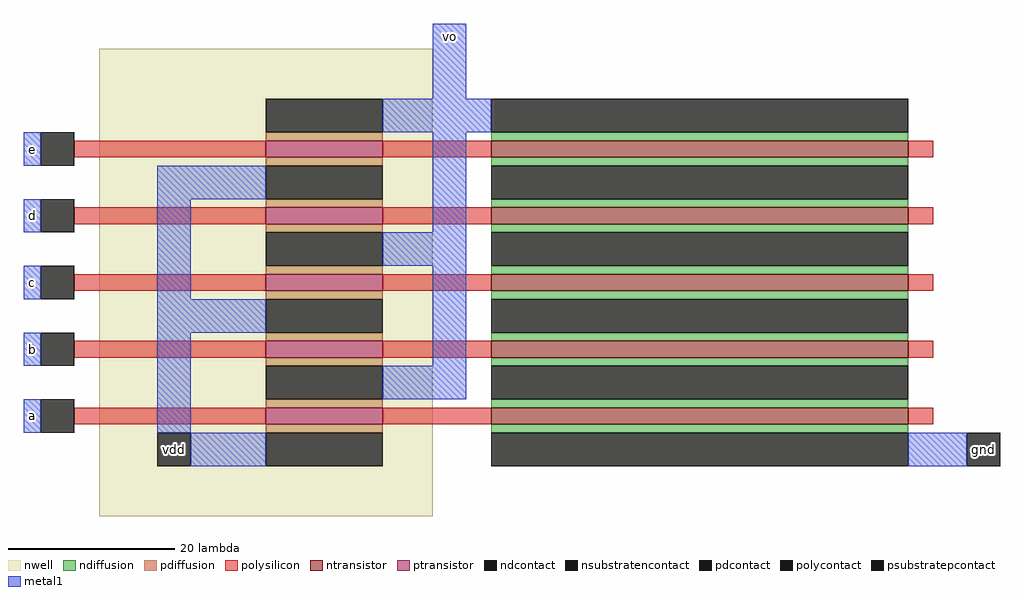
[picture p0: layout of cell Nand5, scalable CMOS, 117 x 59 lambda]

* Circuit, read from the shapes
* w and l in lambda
.subckt Nand5 a b c d e gnd vdd vo
M1 n1 a gnd gnd nfet w=50 l=2
M2 n2 b n1 gnd nfet w=50 l=2
M3 n3 c n2 gnd nfet w=50 l=2
M4 n4 d n3 gnd nfet w=50 l=2
M5 vo e n4 gnd nfet w=50 l=2
M6 vo a vdd vdd pfet w=14 l=2
M7 vdd b vo vdd pfet w=14 l=2
M8 vo c vdd vdd pfet w=14 l=2
M9 vdd d vo vdd pfet w=14 l=2
M10 vo e vdd vdd pfet w=14 l=2
.ends

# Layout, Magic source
magic
tech scmos
<< nwell >>
rect 9 -68 49 -12
<< ntransistor >>
rect 56 -25 106 -23
rect 56 -33 106 -31
rect 56 -41 106 -39
rect 56 -49 106 -47
rect 56 -57 106 -55
<< ptransistor >>
rect 29 -25 43 -23
rect 29 -33 43 -31
rect 29 -41 43 -39
rect 29 -49 43 -47
rect 29 -57 43 -55
<< ndiffusion >>
rect 56 -23 106 -22
rect 56 -26 106 -25
rect 56 -31 106 -30
rect 56 -34 106 -33
rect 56 -39 106 -38
rect 56 -42 106 -41
rect 56 -47 106 -46
rect 56 -50 106 -49
rect 56 -55 106 -54
rect 56 -58 106 -57
<< pdiffusion >>
rect 29 -23 43 -22
rect 29 -26 43 -25
rect 29 -31 43 -30
rect 29 -34 43 -33
rect 29 -39 43 -38
rect 29 -42 43 -41
rect 29 -47 43 -46
rect 29 -50 43 -49
rect 29 -55 43 -54
rect 29 -58 43 -57
<< ndcontact >>
rect 56 -22 106 -18
rect 56 -30 106 -26
rect 56 -38 106 -34
rect 56 -46 106 -42
rect 56 -54 106 -50
rect 56 -62 106 -58
<< pdcontact >>
rect 29 -22 43 -18
rect 29 -30 43 -26
rect 29 -38 43 -34
rect 29 -46 43 -42
rect 29 -54 43 -50
rect 29 -62 43 -58
<< psubstratepcontact >>
rect 113 -62 117 -58
<< nsubstratencontact >>
rect 16 -62 20 -58
<< polysilicon >>
rect 6 -25 29 -23
rect 43 -25 56 -23
rect 106 -25 109 -23
rect 6 -33 29 -31
rect 43 -33 56 -31
rect 106 -33 109 -31
rect 6 -41 29 -39
rect 43 -41 56 -39
rect 106 -41 109 -39
rect 6 -49 29 -47
rect 43 -49 56 -47
rect 106 -49 109 -47
rect 6 -57 29 -55
rect 43 -57 56 -55
rect 106 -57 109 -55
<< polycontact >>
rect 2 -26 6 -22
rect 2 -34 6 -30
rect 2 -42 6 -38
rect 2 -50 6 -46
rect 2 -58 6 -54
<< metal1 >>
rect 49 -18 53 -9
rect 43 -22 56 -18
rect 0 -26 2 -22
rect 16 -30 29 -26
rect 0 -34 2 -30
rect 0 -42 2 -38
rect 16 -42 20 -30
rect 49 -34 53 -22
rect 43 -38 53 -34
rect 16 -46 29 -42
rect 0 -50 2 -46
rect 0 -58 2 -54
rect 16 -58 20 -46
rect 49 -50 53 -38
rect 43 -54 53 -50
rect 20 -62 29 -58
rect 106 -62 113 -58
<< labels >>
rlabel nsubstratencontact 16 -62 20 -58 7 vdd
rlabel psubstratepcontact 113 -62 117 -58 7 gnd
rlabel metal1 49 -12 53 -9 5 vo
rlabel metal1 0 -58 2 -54 3 a
rlabel metal1 0 -50 2 -46 3 b
rlabel metal1 0 -42 2 -38 3 c
rlabel metal1 0 -34 2 -30 3 d
rlabel metal1 0 -26 2 -22 3 e
<< end >>
